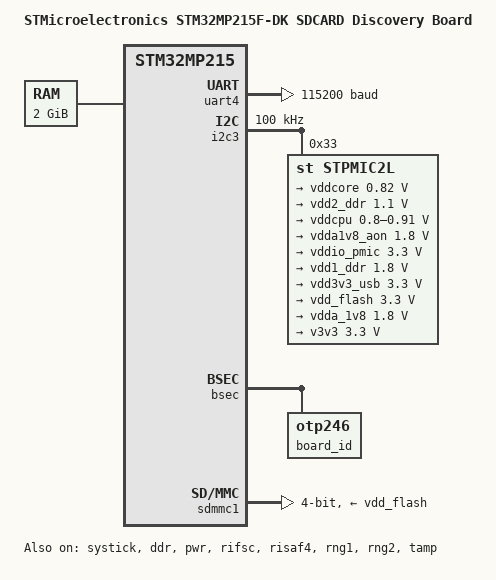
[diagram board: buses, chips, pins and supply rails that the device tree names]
/*
 * Copyright (c) 2026, STMicroelectronics - All Rights Reserved
 *
 * SPDX-License-Identifier: Apache-2.0
 */

/dts-v1/;

#include <dt-bindings/clock/stm32mp21-clksrc.h>
#include <dt-bindings/reset/st,stm32mp21-rcc.h>
#include <dt-bindings/rif/stm32mp25-rif.h>
#include <dt-bindings/rif/stm32mp21-rifsc.h>
#include <dt-bindings/rif/stm32mp2-risaf.h>
#include <dt-bindings/rif/stm32mp25-risab.h>
#include <dt-bindings/memory-attr/memory-attr-arm.h>

#include "stm32mp215.dtsi"
#include "stm32mp21x-bl2.dtsi"
#include "stm32mp215f-dk-cm33tdcid-bl2-resmem.dtsi"
#include "stm32mp215f-dk-cm33tdcid-sdmmc1-bl2-rcc.dtsi"
#include "stm32mp215f-dk-cm33tdcid-sdmmc1-bl2-rif.dtsi"
#include "stm32mp21-lpddr4-1x16Gbits-1x16bits-800MHz.dtsi"
#include "stm32mp21-pinctrl.dtsi"
#include "stm32mp21xxan-pinctrl.dtsi"

/ {
	model = "STMicroelectronics STM32MP215F-DK SDCARD Discovery Board";
	compatible = "st,stm32mp215f-dk-m33tdcid-sdcard", "st,stm32mp215f-dk", "st,stm32mp215";

	aliases {
		serial0 = &uart4;
	};

	chosen {
		stdout-device = &uart4;
		tfm,entropy = &rng1;
		tfm,watchdog = &iwdg3;
	};

	memory@80000000 {
		device_type = "memory";
		reg = <0x80000000 0x80000000>;
	};

	otp {
		nvmem-cells = <&implementation_id>,
			      <&rpn_otp>,
			      <&bootrom_config_9>,
			      <&id_otp>,
			      <&package_otp>,
			      <&hconf1_otp>,
			      <&tfm_fw_pkh>,
			      <&ddr_fw_pkh>,
			      <&ca35_fw_pkh>,
			      <&board_id>,
			      <&iak>;
		nvmem-cell-names = "implementation_id",
				   "rpn_otp",
				   "bootrom_config_9",
				   "id_otp",
				   "package_otp",
				   "hconf1_otp",
				   "tfm_fw_pkh",
				   "ddr_fw_pkh",
				   "ca35_fw_pkh",
				   "board_id",
				   "iak";
	};

};

&nvram {
	status = "okay";

	nvmem-layout {
		#address-cells = <1>;
		#size-cells = <1>;
		cm_fwu_info: tamp-bkp@124 {
			#nvmem-cell-cells = <0>;
			reg = <0x124 0x4>;
		};
	};
};

&uart4 {
	pinctrl-names = "default";
	pinctrl-0 = <&uart4_pins_a>;
	clocks = <&rcc CK_KER_UART4>;
	current-speed = <115200>;
	status = "okay";
};

&systick {
	clocks = <&rcc CK_ICN_HS_MCU>;
	clock-frequency = <1000000>; /* tick at 1us */
	status = "okay";
};

&i2c3 {
	pinctrl-names = "default";
	pinctrl-0 = <&i2c3_pins_a>;
	i2c-scl-rising-time-ns = <185>;
	i2c-scl-falling-time-ns = <20>;
	clock-frequency = <100000>;
	status = "okay";

	#address-cells = <1>;
	#size-cells = <0>;

	stpmic2l: pmic@33 {
		compatible = "st,stpmic2l";
		reg = <0x33>;
		interrupt-controller;
		#interrupt-cells = <1>;
		status = "okay";

		regulators {
			compatible = "st,stpmic2-regulators";

			vddcore: buck1 {
				regulator-name = "vddcore";
				regulator-min-microvolt = <820000>;
				regulator-max-microvolt = <820000>;
				regulator-always-on;
			};
			vdd2_ddr: buck2 {
				regulator-name = "vdd2_ddr";
				regulator-min-microvolt = <1100000>;
				regulator-max-microvolt = <1100000>;
			};
			vddcpu: buck3 {
				regulator-name = "vddcpu";
				regulator-min-microvolt = <800000>;
				regulator-max-microvolt = <910000>;
				regulator-always-on;
			};
			vdda1v8_aon: ldo1 {
				regulator-name = "vdda1v8_aon";
				regulator-min-microvolt = <1800000>;
				regulator-max-microvolt = <1800000>;
				regulator-always-on;
				st,mask-reset;
			};
			vddio_pmic: ldo2 {
				regulator-name = "vddio_pmic";
				regulator-min-microvolt = <3300000>;
				regulator-max-microvolt = <3300000>;
				regulator-always-on;
				st,mask-reset;
			};
			vdd1_ddr: ldo3 {
				regulator-name = "vdd1_ddr";
				regulator-min-microvolt = <1800000>;
				regulator-max-microvolt = <1800000>;
			};
			vdd3v3_usb: ldo4 {
				regulator-name = "vdd3v3_usb";
				regulator-min-microvolt = <3300000>;
				regulator-max-microvolt = <3300000>;
			};
			vdd_flash: ldo5 {
				regulator-name = "vdd_flash";
				regulator-min-microvolt = <3300000>;
				regulator-max-microvolt = <3300000>;
			};
			vdda_1v8: ldo6 {
				regulator-name = "vdda_1v8";
				regulator-min-microvolt = <1800000>;
				regulator-max-microvolt = <1800000>;
				regulator-always-on;
			};
			v3v3: gpo1 {
				regulator-name = "v3v3";
				regulator-min-microvolt = <3300000>;
				regulator-max-microvolt = <3300000>;
				regulator-always-on;
			};
		};
	};
};

&ddr {
	vdd1-supply = <&vdd1_ddr>;
	vdd2-supply = <&vdd2_ddr>;
	vddq-supply = <&vdd2_ddr>;
	status = "okay";
};

&bsec {
	status = "okay";

	board_id: otp246@3d8 {
		#nvmem-cell-cells = <0>;
		reg = <0x3d8 0x4>;
	};
};

&pwr {
	status = "okay";

	pwr_rif: access-controller {
		status = "okay";
	};

	regulators {
		status = "okay";

		vdda18adc {
			status = "okay";
			regulator-min-microvolt = <1800000>;
			regulator-max-microvolt = <1800000>;
			vin-supply = <&vdda_1v8>;
		};

		vddio1 {
			status = "okay";
			vin-supply = <&vddio_pmic>;
		};

		vddio2 {
			status = "okay";
			vin-supply = <&vdda_1v8>;
		};

		vddio3 {
			status = "okay";
			vin-supply = <&vddio_pmic>;
		};

		vddio {
			status = "okay";
			vin-supply = <&vddio_pmic>;
		};
	};
};

&hconf1_otp {
	shadow-provisionning = <0x00018000>;
};

&ramcfg {
	status = "okay";
};

&rifsc {
	status = "okay";
};

&risaf4 {
	status = "okay";
};

&rng1 {
	status = "okay";
};

&rng2 {
	status = "okay";
};

&sdmmc1 {
	pinctrl-names = "default";
	pinctrl-0 = <&sdmmc1_b4_pins_a>;
	st,neg-edge;
	no-mmc;
	bus-width = <4>;
	vmmc-supply = <&vdd_flash>;
	vqmmc-supply = <&vddio1>;
	status = "okay";
};

&tamp {
	status = "okay";
};

&iwdg3 {
	/* If the watchdog is started the NS application must ping watchdog */
	/*status = "okay";*/
	timeout-sec = <120>;
};
